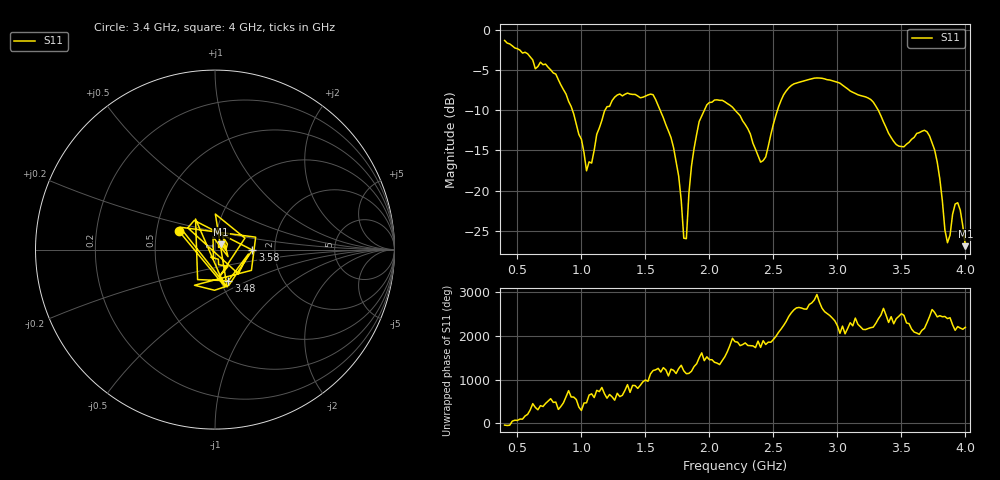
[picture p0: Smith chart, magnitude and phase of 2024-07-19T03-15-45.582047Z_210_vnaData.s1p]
!Created with skrf (http://scikit-rf.org).
# Hz S RI R 50.0
!freq ReS11 ImS11
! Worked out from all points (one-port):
!   181 points, 400 MHz to 4 GHz, reference 50 ohm
!   lowest |S11| = -26.9 dB at 4 GHz (marker M1), VSWR 1.09, Z = 53.4 + j3.24 ohm
!   |S11| at or under -10 dB: 1.615 GHz to 1.961 GHz (345.6 MHz wide, 19.3 % of centre); 2.199 GHz to 2.532 GHz (333.1 MHz wide, 14.1 % of centre); 3.319 GHz to end of sweep (the widest 3 of 4)
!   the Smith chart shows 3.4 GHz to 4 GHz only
!   S11 on the Smith chart (normalised r, x): 3.4 GHz: 0.65, +0.14; 3.48 GHz: 1.09, -0.39; 3.58 GHz: 1.53, -0.01; 4 GHz: 1.07, +0.06
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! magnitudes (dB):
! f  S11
! 400 MHz  -1.4
! 860 MHz  -7.5
! 1 GHz  -13.6
! 1.04 GHz  -17.5
! 1.18 GHz  -10.1
! 1.3 GHz  -8.0
! 1.56 GHz  -8.1
! 1.7 GHz  -13.4
! 1.76 GHz  -18.2
! 1.8 GHz  -25.9
! 1.82 GHz  -26.0
! 1.86 GHz  -16.9
! 1.92 GHz  -11.4
! 2.04 GHz  -8.8
! 2.2 GHz  -10.0
! 2.4 GHz  -16.5
! 2.66 GHz  -6.7
! 3.1 GHz  -7.6
! 3.28 GHz  -9.0
! 3.4 GHz  -12.9
! 3.48 GHz  -14.5
! 3.56 GHz  -14.0
! 3.58 GHz  -13.6
! 3.72 GHz  -13.2
! 3.78 GHz  -16.5
! 3.86 GHz  -26.5
! 3.94 GHz  -21.5
! 4 GHz  -26.9
